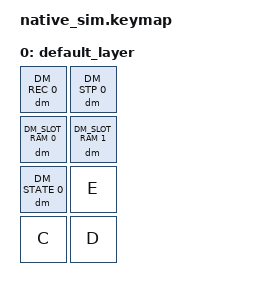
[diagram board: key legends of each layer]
#include <dt-bindings/zmk/keys.h>
#include <behaviors.dtsi>
#include <dt-bindings/zmk/kscan_mock.h>
#include <behaviors/dynamic_macro.dtsi>
#include <dt-bindings/zmk/dynamic_macros.h>

/*
 * Interrupt (trigger B): a FOREIGN key aborts a live STATUS dump and is
 * SWALLOWED (does not reach the host).
 *
 * Record two RAM macros, then fire STATUS at USED_PREVIEW detail (arrow style),
 * which streams a header line plus one preview line per filled slot — a long,
 * multi-keystroke dump at TAP_DELAY=40. While that dump is still typing, press a
 * plain &kp E.
 *
 *   Fixed:  the E press aborts the dump (dm_feedback_pump_cancel_output) and is
 *           swallowed via ZMK_EV_EVENT_HANDLED, so the snapshot shows a PARTIAL
 *           status dump and NO 'e' (keycode 0x08) keystroke at all.
 *   Buggy:  the dump types to completion and the 'e' lands afterwards, so the
 *           snapshot shows the FULL two-slot dump followed by an 'e' press.
 *
 * The E press is timed deep inside the dump window so exact-timing jitter does
 * not change the outcome (still partial, still swallowed) — the same robustness
 * approach as erase_cancel_del.
 *
 * AUTO_ERASE is off so the recorded macros' SAVED cues do not schedule erases
 * that would muddy the stream. TAP_DELAY=40 (see native_sim.conf).
 */

&kscan {
    rows = <4>;
    columns = <2>;
    exit-after;
};

/ {
    keymap {
        compatible = "zmk,keymap";
        default_layer {
            bindings = <
                &dm DM_REC 0        &dm DM_STP 0
                &dm DM_SLOT_RAM 0   &dm DM_SLOT_RAM 1
                &dm DM_STATE 0      &kp E
                &kp C               &kp D
            >;
        };
    };
};

&kscan {
    events = <
        /* --- record "cd" into RAM slot 0 --- */
        ZMK_MOCK_PRESS(0,0,10)      /* REC */
        ZMK_MOCK_RELEASE(0,0,300)
        ZMK_MOCK_PRESS(3,0,10)      /* C */
        ZMK_MOCK_RELEASE(3,0,10)
        ZMK_MOCK_PRESS(3,1,10)      /* D */
        ZMK_MOCK_RELEASE(3,1,10)
        ZMK_MOCK_PRESS(0,1,300)     /* STP */
        ZMK_MOCK_RELEASE(0,1,300)
        ZMK_MOCK_PRESS(1,0,10)      /* SLOT_RAM 0 assign */
        ZMK_MOCK_RELEASE(1,0,600)

        /* --- record "cd" into RAM slot 1 --- */
        ZMK_MOCK_PRESS(0,0,10)      /* REC */
        ZMK_MOCK_RELEASE(0,0,300)
        ZMK_MOCK_PRESS(3,0,10)      /* C */
        ZMK_MOCK_RELEASE(3,0,10)
        ZMK_MOCK_PRESS(3,1,10)      /* D */
        ZMK_MOCK_RELEASE(3,1,10)
        ZMK_MOCK_PRESS(0,1,300)     /* STP */
        ZMK_MOCK_RELEASE(0,1,300)
        ZMK_MOCK_PRESS(1,1,10)      /* SLOT_RAM 1 assign */
        ZMK_MOCK_RELEASE(1,1,600)

        /* --- STATUS dump (long: header + 2 preview lines) --- */
        ZMK_MOCK_PRESS(2,0,10)      /* STATE */
        ZMK_MOCK_RELEASE(2,0,10)
        /* --- foreign key deep inside the dump: aborts + is swallowed --- */
        ZMK_MOCK_PRESS(2,1,500)     /* kp E */
        ZMK_MOCK_RELEASE(2,1,2000)
    >;
};
